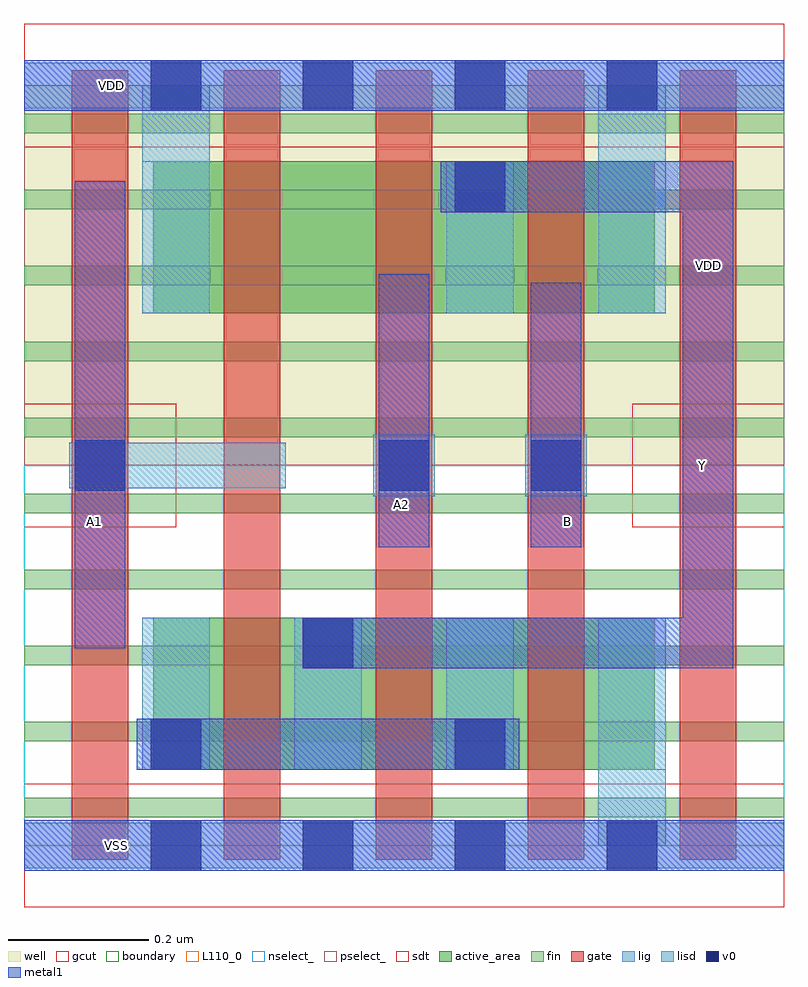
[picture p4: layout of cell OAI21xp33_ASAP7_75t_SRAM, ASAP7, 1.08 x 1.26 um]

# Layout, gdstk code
import gdstk
lib = gdstk.Library(unit=1e-6, precision=2.5e-10)
def R(c, l, rs):  # rectangles x0, y0, x1, y1
    for r in rs: c.add(gdstk.rectangle(r[:2], r[2:], *l))
def A(c, l, x, y, w, h, nx, ny, dx, dy):  # array of equal rectangles
    R(c, l, [(x+i*dx, y+j*dy, x+i*dx+w, y+j*dy+h) for i in range(nx) for j in range(ny)])
def P(c, l, *ps):  # polygons
    for p in ps: c.add(gdstk.Polygon(p, *l))
well = (1, 0)
fin = (2, 0)
gate = (7, 0)
gcut = (10, 0)
active_area = (11, 0)
nselect_ = (12, 0)
pselect_ = (13, 0)
lig = (16, 0)
lisd = (17, 0)
v0 = (18, 0)
metal1 = (19, 0)
sdt = (88, 0)
boundary = (100, 0)
L110_0 = (110, 0)

oai21xp33_asap7_75t_sram = lib.new_cell('OAI21xp33_ASAP7_75t_SRAM')
R(oai21xp33_asap7_75t_sram, well, [(0,0.54,1.08,1.08)])
A(oai21xp33_asap7_75t_sram, fin, 0, 0.04, 1.08, 0.028, 1, 10, 0, 0.108)
A(oai21xp33_asap7_75t_sram, gate, 0.068, -0.02, 0.08, 1.122, 5, 1, 0.216, 0)
R(oai21xp33_asap7_75t_sram, gcut, [(0,-0.088,1.08,0.088), (0,0.452,0.216,0.628), (0.864,0.452,1.08,0.628), (0,0.992,1.08,1.168)])
R(oai21xp33_asap7_75t_sram, active_area, [(0.184,0.108,0.896,0.324), (0.184,0.756,0.896,0.972)])
R(oai21xp33_asap7_75t_sram, nselect_, [(0,0,1.08,0.54)])
R(oai21xp33_asap7_75t_sram, pselect_, [(0,0.54,1.08,1.08)])
R(oai21xp33_asap7_75t_sram, lig, [(0,-0.032,1.08,0.032), (0.496,0.496,0.584,0.584), (0.712,0.496,0.8,0.584), (0.064,0.508,0.372,0.572), (0,1.048,1.08,1.112)])
A(oai21xp33_asap7_75t_sram, lisd, 0.168, 0.108, 0.096, 0.216, 3, 1, 0.216, 0)
R(oai21xp33_asap7_75t_sram, lisd, [(0.816,0,0.912,0.324), (0.168,0.756,0.264,1.08), (0.6,0.756,0.696,0.972), (0.816,0.756,0.912,1.08)])
A(oai21xp33_asap7_75t_sram, v0, 0.18, -0.036, 0.072, 0.072, 4, 2, 0.216, 1.08)
R(oai21xp33_asap7_75t_sram, v0, [(0.18,0.108,0.252,0.18), (0.612,0.108,0.684,0.18), (0.396,0.252,0.468,0.324), (0.072,0.504,0.144,0.576), (0.504,0.504,0.576,0.576), (0.72,0.504,0.792,0.576), (0.612,0.9,0.684,0.972)])
R(oai21xp33_asap7_75t_sram, metal1, [(0,-0.036,1.08,0.036), (0.16,0.108,0.704,0.18), (0.072,0.28,0.144,0.944), (0.504,0.424,0.576,0.812), (0.72,0.424,0.792,0.8), (0,1.044,1.08,1.116)])
P(oai21xp33_asap7_75t_sram, metal1, [(1.008,0.972),(0.592,0.972),(0.592,0.9),(0.936,0.9),(0.936,0.324),(0.396,0.324),(0.396,0.252),(1.008,0.252)])
A(oai21xp33_asap7_75t_sram, sdt, 0.168, 0.108, 0.096, 0.216, 4, 1, 0.216, 0)
R(oai21xp33_asap7_75t_sram, sdt, [(0.168,0.756,0.264,0.972), (0.6,0.756,0.696,0.972), (0.816,0.756,0.912,0.972)])
R(oai21xp33_asap7_75t_sram, boundary, [(0,0,1.08,1.08)])
R(oai21xp33_asap7_75t_sram, L110_0, [(0,0,1.08,1.08)])
oai21xp33_asap7_75t_sram.add(gdstk.Label('VSS', (0.564,-0.148), layer=3, texttype=251))
oai21xp33_asap7_75t_sram.add(gdstk.Label('VDD', (0.972,0.824), layer=1, texttype=251))
oai21xp33_asap7_75t_sram.add(gdstk.Label('A1', (0.1,0.46), layer=19, texttype=251))
oai21xp33_asap7_75t_sram.add(gdstk.Label('VDD', (0.124,1.08), layer=19, texttype=251))
oai21xp33_asap7_75t_sram.add(gdstk.Label('A2', (0.536,0.484), layer=19, texttype=251))
oai21xp33_asap7_75t_sram.add(gdstk.Label('VSS', (0.132,0), layer=19, texttype=251))
oai21xp33_asap7_75t_sram.add(gdstk.Label('B', (0.772,0.46), layer=19, texttype=251))
oai21xp33_asap7_75t_sram.add(gdstk.Label('Y', (0.964,0.54), layer=19, texttype=251))

lib.write_gds('OAI21xp33_ASAP7_75t_SRAM.gds')
